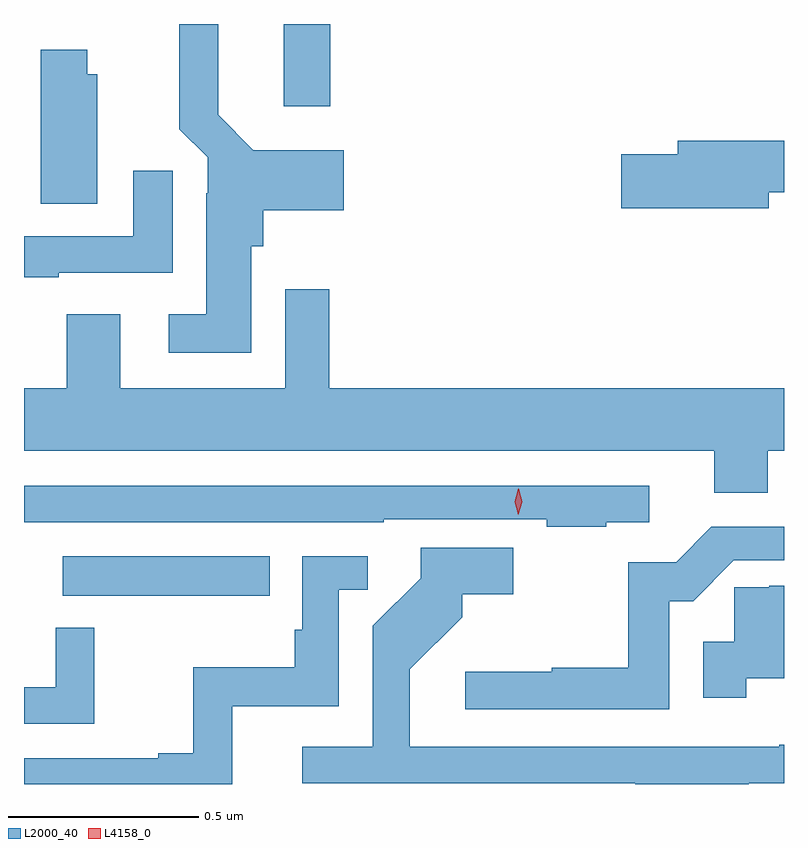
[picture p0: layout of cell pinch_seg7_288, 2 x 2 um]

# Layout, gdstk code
import gdstk
lib = gdstk.Library(unit=1e-6, precision=1e-09)
def R(c, l, rs):  # rectangles x0, y0, x1, y1
    for r in rs: c.add(gdstk.rectangle(r[:2], r[2:], *l))
def P(c, l, *ps):  # polygons
    for p in ps: c.add(gdstk.Polygon(p, *l))
L2000_40 = (2000, 40)
L4158_0 = (4158, 0)

pinch_seg7_288 = lib.new_cell('pinch_seg7_288')
R(pinch_seg7_288, L2000_40, [(663.81,1058.843,664.355,1058.947), (664.391,1060.131,664.514,1060.347)])
P(pinch_seg7_288, L2000_40, [(664.306,1059.762),(664.337,1059.762),(664.337,1059.857),(664.549,1059.857),(664.549,1060.015),(664.311,1060.015),(664.219,1060.108),(664.219,1060.347),(664.117,1060.347),(664.117,1060.07),(664.191,1059.996),(664.191,1059.902),(664.187,1059.902),(664.187,1059.583),(664.089,1059.583),(664.089,1059.482),(664.306,1059.482)],
  [(663.901,1060.215),(663.874,1060.215),(663.874,1060.279),(663.752,1060.279),(663.752,1059.874),(663.901,1059.874)],
  [(665.668,1059.904),(665.708,1059.904),(665.708,1060.04),(665.429,1060.04),(665.429,1060.004),(665.28,1060.004),(665.28,1059.862),(665.668,1059.862)],
  [(663.799,1059.693),(664.099,1059.693),(664.099,1059.961),(663.995,1059.961),(663.995,1059.789),(663.708,1059.789),(663.708,1059.681),(663.799,1059.681)],
  [(665.665,1059.224),(665.708,1059.224),(665.708,1059.388),(664.511,1059.388),(664.511,1059.649),(664.395,1059.649),(664.395,1059.388),(663.961,1059.388),(663.961,1059.583),(663.821,1059.583),(663.821,1059.388),(663.708,1059.388),(663.708,1059.224),(665.525,1059.224),(665.525,1059.113),(665.665,1059.113)],
  [(665.24,1059.036),(665.353,1059.036),(665.353,1059.132),(663.708,1059.132),(663.708,1059.036),(664.655,1059.036),(664.655,1059.044),(665.083,1059.044),(665.083,1059.024),(665.24,1059.024)],
  [(665.406,1058.828),(665.469,1058.828),(665.576,1058.936),(665.708,1058.936),(665.708,1059.024),(665.517,1059.024),(665.424,1058.931),(665.298,1058.931),(665.298,1058.653),(665.097,1058.653),(665.097,1058.642),(664.869,1058.642),(664.869,1058.544),(665.406,1058.544)],
  [(665.615,1058.349),(665.708,1058.349),(665.708,1058.45),(665.695,1058.45),(665.695,1058.445),(664.723,1058.445),(664.723,1058.649),(664.861,1058.786),(664.861,1058.846),(664.996,1058.846),(664.996,1058.969),(664.752,1058.969),(664.752,1058.889),(664.626,1058.763),(664.626,1058.445),(664.44,1058.445),(664.44,1058.349),(665.317,1058.349),(665.317,1058.347),(665.615,1058.347)],
  [(664.256,1058.551),(664.536,1058.551),(664.536,1058.858),(664.613,1058.858),(664.613,1058.946),(664.44,1058.946),(664.44,1058.753),(664.42,1058.753),(664.42,1058.654),(664.153,1058.654),(664.153,1058.428),(664.061,1058.428),(664.061,1058.415),(663.708,1058.415),(663.708,1058.347),(664.256,1058.347)],
  [(665.609,1058.625),(665.708,1058.625),(665.708,1058.869),(665.669,1058.869),(665.669,1058.865),(665.577,1058.865),(665.577,1058.721),(665.495,1058.721),(665.495,1058.574),(665.609,1058.574)],
  [(663.893,1058.758),(663.792,1058.758),(663.792,1058.601),(663.708,1058.601),(663.708,1058.505),(663.893,1058.505)])
P(pinch_seg7_288, L4158_0, [(665.008,1059.055),(665.008,1059.055),(664.999,1059.09),(665.009,1059.124),(665.01,1059.124),(665.01,1059.124),(665.019,1059.09),(665.008,1059.055)])

lib.write_gds('pinch_seg7_288.gds')
